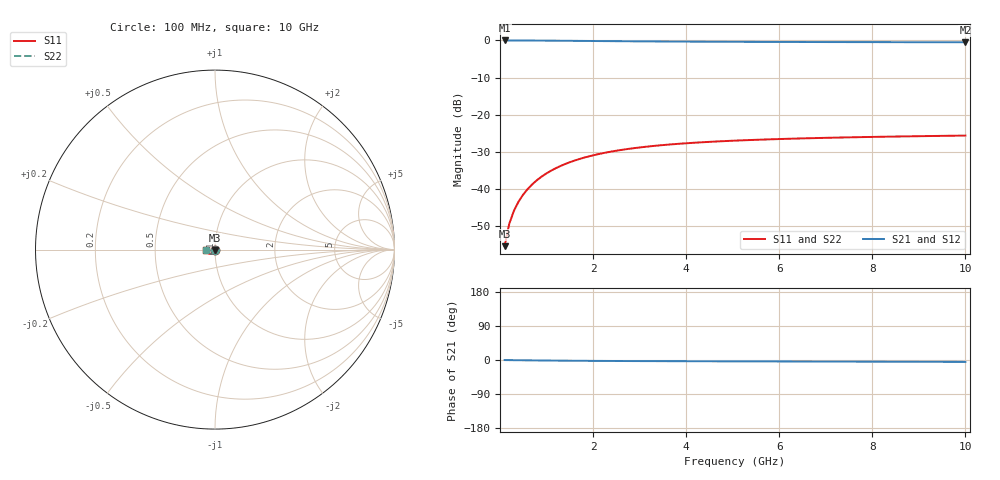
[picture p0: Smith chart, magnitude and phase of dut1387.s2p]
! Touchstone file exported from HFSS 2024.1.0
!  File:  C:/UserFiles/LocalFiles/RDL_TSV_Batchsim/temp_TSV1_1387_1780380750.aedt
!  Generated:  02:20:14 PM Jun  2, 2026
!  Design:  TSV1
!  Project:  temp_TSV1_1387_1780380750
!  Setup:  Setup1
!  Solution:  Sweep
! Variables:
!  dtsv = 12.59um
!  hbump = 3um
!  htsv = 77.34um
!  lrdl = 252.1521522um
!  p = 40
!  p1 = 55.34um
!  t = 500um
!  trdl = 3um
!  wrdl = 24.89489489um
# GHz S MA R 50.000000
! Terminal data exported
! Port[1] = TSV22_T1
! Port[2] = TSV22_T2
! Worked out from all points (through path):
!   100 points, 100 MHz to 10 GHz, reference 50 ohm
!   highest |S21| = 0.00 dB at 100 MHz (marker M1); lowest = -0.5 dB at 10 GHz (marker M2)
!   lowest |S11| = -55.3 dB at 100 MHz (marker M3), VSWR 1.00, Z = 50 - j0.172 ohm
!   |S11| at or under -10 dB: start of sweep to end of sweep
!   |S22| runs from -55.3 to -25.6 dB; largest |S21 - S12| = 1.3e-14
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0.1  0.00172 -89.1  0.9998 -0.1  0.9998 -0.1  0.00172 -89.1
! Gamma 0 0 0 0
! Port Impedance 50 0 50 0
0.2  0.003435 -92.6  0.9996 -0.3  0.9996 -0.3  0.003435 -92.6
0.3  0.005144 -95.1  0.9993 -0.4  0.9993 -0.4  0.005144 -95.1
0.4  0.006838 -97.4  0.9989 -0.6  0.9989 -0.6  0.006838 -97.4
0.5  0.008511 -99.6  0.9983 -0.7  0.9983 -0.7  0.008511 -99.6
0.6  0.01016 -101.7  0.9977 -0.9  0.9977 -0.9  0.01016 -101.7
0.7  0.01177 -103.8  0.9969 -1.0  0.9969 -1.0  0.01177 -103.8
0.8  0.01334 -105.9  0.9961 -1.1  0.9961 -1.1  0.01334 -105.9
0.9  0.01488 -107.8  0.9952 -1.3  0.9952 -1.3  0.01488 -107.8
1.1  0.01781 -111.7  0.9932 -1.5  0.9932 -1.5  0.01781 -111.7
1.4  0.02184 -117.1  0.9899 -1.8  0.9899 -1.8  0.02184 -117.1
1.6  0.02428 -120.5  0.9876 -2.0  0.9876 -2.0  0.02428 -120.5
1.8  0.02653 -123.7  0.9852 -2.2  0.9852 -2.2  0.02653 -123.7
2.1  0.02955 -128.1  0.9818 -2.4  0.9818 -2.4  0.02955 -128.1
2.5  0.03298 -133.4  0.9774 -2.6  0.9774 -2.6  0.03298 -133.4
2.9  0.03584 -138.1  0.9734 -2.8  0.9734 -2.8  0.03584 -138.1
3.4  0.03875 -143.3  0.969 -3.0  0.969 -3.0  0.03875 -143.3
4.2  0.04231 -150.2  0.9633 -3.3  0.9633 -3.3  0.04231 -150.2
5.1  0.04519 -156.5  0.9584 -3.6  0.9584 -3.6  0.04519 -156.5
6.7  0.04863 -165.4  0.9525 -4.0  0.9525 -4.0  0.04863 -165.4
8.4  0.05103 -172.7  0.9485 -4.5  0.9485 -4.5  0.05103 -172.7
10  0.05268 -178.5  0.946 -5.0  0.946 -5.0  0.05268 -178.5
